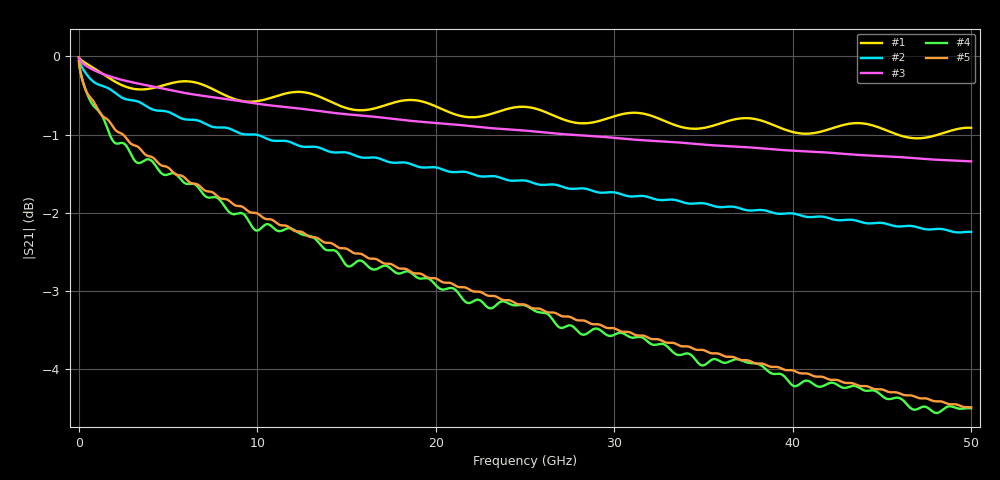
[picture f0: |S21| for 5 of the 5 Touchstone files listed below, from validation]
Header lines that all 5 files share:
! Frequency(Hz) S11 S21 S12 S22 (Re Im)
# Hz S RI R 50
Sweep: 10 MHz to 50 GHz
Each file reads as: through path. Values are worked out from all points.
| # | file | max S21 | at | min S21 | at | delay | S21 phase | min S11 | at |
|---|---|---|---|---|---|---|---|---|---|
| 1 | DUT_reference.s2p | -0.01 dB | 10 MHz | -1.0 dB | 46.99 GHz | 80 ps | -0 deg at 25.01 GHz | -58.9 dB | 10 MHz |
| 2 | FIXTURE_A_reference.s2p | -0.03 dB | 10 MHz | -2.3 dB | 49.31 GHz | 300 ps | 179 deg at 25.01 GHz | -54.8 dB | 10 MHz |
| 3 | FIXTURE_B_reference.s2p | -0.02 dB | 10 MHz | -1.3 dB | 50 GHz | 120 ps | -0 deg at 25.01 GHz | -69.9 dB | 10 MHz |
| 4 | RAW_MEASUREMENT.s2p | -0.06 dB | 10 MHz | -4.6 dB | 48.06 GHz | 500 ps | 178 deg at 25.01 GHz | -56.4 dB | 11.92 GHz |
| 5 | THRU_2X_reference.s2p | -0.06 dB | 10 MHz | -4.5 dB | 50 GHz | 600 ps | -2 deg at 25.01 GHz | -48.8 dB | 10 MHz |
